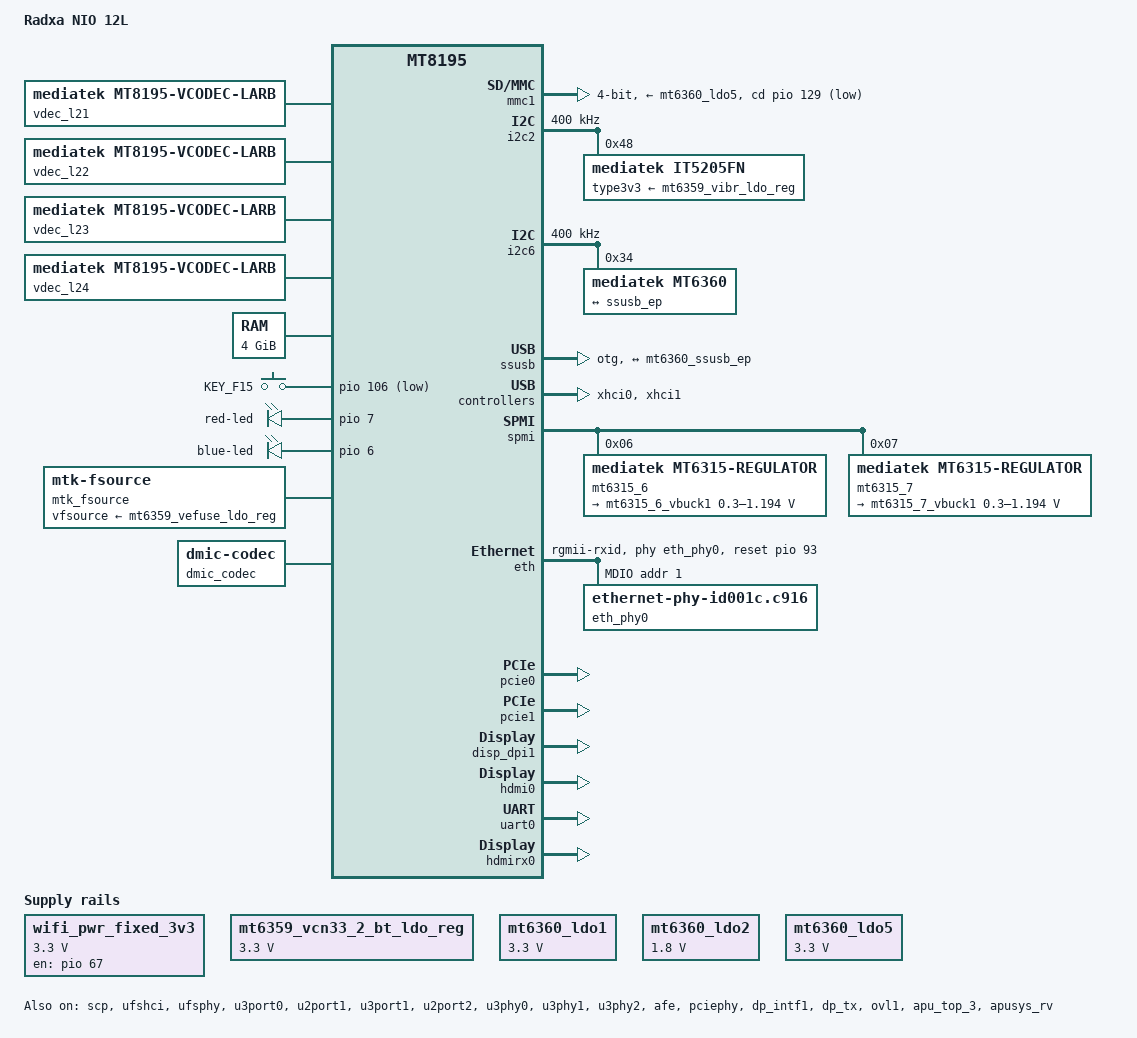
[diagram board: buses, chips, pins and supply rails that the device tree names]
// SPDX-License-Identifier: (GPL-2.0 OR MIT)
/*
 * Copyright (c) 2023 Radxa Limited.
 */
/dts-v1/;
#include "mt8195-iot-usb.dtsi"
#include "mt6359.dtsi"
#include <dt-bindings/gpio/gpio.h>
#include <dt-bindings/input/input.h>
#include <dt-bindings/interrupt-controller/irq.h>
#include <dt-bindings/pinctrl/mt8195-pinfunc.h>
#include <dt-bindings/usb/pd.h>
#include <dt-bindings/clock/mt8195-clk.h>
#include <dt-bindings/power/mt8195-power.h>
#include <dt-bindings/interrupt-controller/arm-gic.h>
#include <dt-bindings/memory/mt8195-memory-port.h>
#include <dt-bindings/gce/mt8195-gce.h>
#include <dt-bindings/thermal/thermal.h>

/ {
	model = "Radxa NIO 12L";
	compatible = "radxa,nio-12l", "mediatek,mt8195";

	aliases {
		ethernet0 = &eth;
		serial0 = &uart0;
		serial1 = &uart1;
		serial2 = &uart2;
		serial3 = &uart3;
		serial4 = &uart4;
		serial5 = &uart5;
		i2c0 = &i2c0;
		i2c1 = &i2c1;
		i2c2 = &i2c2;
		i2c3 = &i2c3;
		i2c4 = &i2c4;
		i2c5 = &i2c5;
		i2c6 = &i2c6;
		i2c7 = &i2c7;
		spi0 = &spi0;
		spi1 = &spi1;
		spi2 = &spi2;
		spi3 = &spi3;
		spi4 = &spi4;
		spi5 = &spi5;
	};

	soc {

			gpu: mali@13000000 {
				compatible = "mediatek,mt8195-mali", "arm,mali-midgard";
				reg = <0 0x13000000 0 0x4000>;
				interrupts =
					<GIC_SPI 395 IRQ_TYPE_LEVEL_HIGH 0>,
					<GIC_SPI 396 IRQ_TYPE_LEVEL_HIGH 0>,
					<GIC_SPI 397 IRQ_TYPE_LEVEL_HIGH 0>;
				interrupt-names =
					"GPU",
					"MMU",
					"JOB";

				/*
				* Note: the properties below are not part of the
				* upstream binding.
				*/
				clocks =
					<&topckgen CLK_TOP_MFG_CK_FAST_REF>,
					<&apmixedsys CLK_APMIXED_MFGPLL>,
					<&apmixedsys CLK_APMIXED_MFGPLL>,
					<&topckgen CLK_TOP_MFG_CORE_TMP>,
					<&mfgcfg CLK_MFG_BG3D>;

				clock-names =
					"clk_mux",
					"clk_pll_src",
					"clk_main_parent",
					"clk_sub_parent",
					"subsys_bg3d";

				operating-points-v2 = <&gpu_opp_table>;

				power-domains =
					<&spm MT8195_POWER_DOMAIN_MFG2>,
					<&spm MT8195_POWER_DOMAIN_MFG3>,
					<&spm MT8195_POWER_DOMAIN_MFG4>,
					<&spm MT8195_POWER_DOMAIN_MFG5>,
					<&spm MT8195_POWER_DOMAIN_MFG6>;
				power-domain-names = "core0",
					"core1",
					"core2",
					"core3",
					"core4";

				supply-names = "mali","mali_sram";
				mali-supply = <&mt6315_7_vbuck1>;
				mali_sram-supply = <&mt6359_vsram_others_ldo_reg>;

			};

			gpu_opp_table: opp_table0 {
				compatible = "operating-points-v2", "operating-points-v2-mali";
				opp-shared;

				opp-390000000 {
					opp-hz = /bits/ 64 <390000000>;
					opp-hz-real = /bits/ 64 <390000000>,
							/bits/ 64 <390000000>;
					opp-microvolt = <625000>,
							<750000>;
				};

				opp-410000000 {
					opp-hz = /bits/ 64 <410000000>;
					opp-hz-real = /bits/ 64 <410000000>,
							/bits/ 64 <410000000>;
					opp-microvolt = <631250>,
							<750000>;
				};

				opp-431000000 {
					opp-hz = /bits/ 64 <431000000>;
					opp-hz-real = /bits/ 64 <431000000>,
							/bits/ 64 <431000000>;
					opp-microvolt = <631250>,
							<750000>;
				};

				opp-473000000 {
					opp-hz = /bits/ 64 <473000000>;
					opp-hz-real = /bits/ 64 <473000000>,
							/bits/ 64 <473000000>;
					opp-microvolt = <637500>,
							<750000>;
				};

				opp-515000000 {
					opp-hz = /bits/ 64 <515000000>;
					opp-hz-real = /bits/ 64 <515000000>,
							/bits/ 64 <515000000>;
					opp-microvolt = <637500>,
							<750000>;
				};

				opp-556000000 {
					opp-hz = /bits/ 64 <556000000>;
					opp-hz-real = /bits/ 64 <556000000>,
							/bits/ 64 <556000000>;
					opp-microvolt = <643750>,
							<750000>;
				};

				opp-598000000 {
					opp-hz = /bits/ 64 <598000000>;
					opp-hz-real = /bits/ 64 <598000000>,
							/bits/ 64 <598000000>;
					opp-microvolt = <650000>,
							<750000>;
				};

				opp-640000000 {
					opp-hz = /bits/ 64 <640000000>;
					opp-hz-real = /bits/ 64 <640000000>,
							/bits/ 64 <640000000>;
					opp-microvolt = <650000>,
							<750000>;
				};

				opp-670000000 {
					opp-hz = /bits/ 64 <670000000>;
					opp-hz-real = /bits/ 64 <670000000>,
							/bits/ 64 <670000000>;
					opp-microvolt = <662500>,
							<750000>;
				};

				opp-700000000 {
					opp-hz = /bits/ 64 <700000000>;
					opp-hz-real = /bits/ 64 <700000000>,
							/bits/ 64 <700000000>;
					opp-microvolt = <675000>,
							<750000>;
				};

				opp-730000000 {
					opp-hz = /bits/ 64 <730000000>;
					opp-hz-real = /bits/ 64 <730000000>,
							/bits/ 64 <730000000>;
					opp-microvolt = <687500>,
							<750000>;
				};

				opp-760000000 {
					opp-hz = /bits/ 64 <760000000>;
					opp-hz-real = /bits/ 64 <760000000>,
							/bits/ 64 <760000000>;
					opp-microvolt = <700000>,
							<750000>;
				};

				opp-790000000 {
					opp-hz = /bits/ 64 <790000000>;
					opp-hz-real = /bits/ 64 <790000000>,
							/bits/ 64 <790000000>;
					opp-microvolt = <712500>,
							<750000>;
				};

				opp-820000000 {
					opp-hz = /bits/ 64 <820000000>;
					opp-hz-real = /bits/ 64 <820000000>,
							/bits/ 64 <820000000>;
					opp-microvolt = <725000>,
							<750000>;
				};

				opp-850000000 {
					opp-hz = /bits/ 64 <850000000>;
					opp-hz-real = /bits/ 64 <850000000>,
							/bits/ 64 <850000000>;
					opp-microvolt = <737500>,
							<750000>;
				};

				opp-880000000 {
					opp-hz = /bits/ 64 <880000000>;
					opp-hz-real = /bits/ 64 <880000000>,
							/bits/ 64 <880000000>;
					opp-microvolt = <750000>,
							<750000>;
				};
			};

						apu_conn: syscon@19020000 {
						compatible = "mediatek,mt8195-apu_conn", "syscon";
						reg = <0 0x19020000 0 0x1000>;
					};

			apusys_reviser@19021000 {
				compatible = "mediatek, rv-reviser";
				reg = <0 0x19021000 0 0x1000>,		/* apu_sctrl_reviser  */
					<0 0x1d800000 0 0x400000>,	/* VLM          */
					<0 0x1d000000 0 0x100000>,	/* TCM          */
					<0 0x19001000 0 0x1000>;		/* apusys int */
				interrupts = <GIC_SPI 439 IRQ_TYPE_LEVEL_HIGH 0>;
				default-dram = <0x1 0x01 0x88000000>;
				dma-ranges = <0x0 0x0 0x0 0x40000000 0x1 0x0>;
				boundary = <0x0>;
				iommus = <&iommu_apu0 IOMMU_PORT_APU_DATA>;
			};

			apu_conn1: syscon@19024000 {
				compatible = "mediatek,mt8195-apu_conn1", "syscon";
				reg = <0 0x19024000 0 0x1000>;
			};

			apu_vcore: syscon@19029000 {
				compatible = "mediatek,mt8195-apu_vcore", "syscon";
				reg = <0 0x19029000 0 0x1000>;
			};

			apu0: syscon@19030000 {
				compatible = "mediatek,mt8195-apu0", "syscon";
				reg = <0 0x19030000 0 0x1000>;
			};

			vpu_core0: vpu_core0@19030000 {
				compatible = "mediatek,mt8195-vpu_core0";
				reg = <0 0x19030000 0 0x1000>,
					<0 0x1d400000 0 0x40000>,
					<0 0x1d440000 0 0x30000>,
					<0 0x0d190000 0 0x4000>;
				interrupts = <GIC_SPI 452 IRQ_TYPE_LEVEL_HIGH 0>;
				id = <0>;
				reset-vector = <0x7da00000 0x00100000 0x0>;
				main-prog = <0x7db00000 0x00300000 0x100000>;
				kernel-lib = <0x7de00000 0x00500000 0xffffffff>;
				work-buf = <0x0 0x12000 0xffffffff>;
				iommus = <&iommu_apu0 IOMMU_PORT_APU_VPU>;
				dma-ranges = <0x0 0x20000000 0x0 0x40000000 0x0 0xe0000000>;
				#cooling-cells = <2>;
				memory-region = <&vpu_reserve_memory>;

				firmware-name = "mediatek/mt8395/cam_vpu1.img",
					"mediatek/mt8395/cam_vpu2.img",
					"mediatek/mt8395/cam_vpu3.img";
			};

			apu1: syscon@19031000 {
				compatible = "mediatek,mt8195-apu1", "syscon";
				reg = <0 0x19031000 0 0x1000>;
			};

			vpu_core1: vpu_core1@19031000 {
				compatible = "mediatek,mt8195-vpu_core1";
				reg = <0 0x19031000 0 0x1000>,
					<0 0x1d500000 0 0x40000>,
					<0 0x1d540000 0 0x30000>,
					<0 0x0d194000 0 0x4000>;
				interrupts = <GIC_SPI 453 IRQ_TYPE_LEVEL_HIGH 0>;
				id = <1>;
				reset-vector = <0x7e300000 0x00100000 0x400000>;
				main-prog = <0x7e400000 0x00300000 0x500000>;
				kernel-lib = <0x7e700000 0x00500000 0xffffffff>;
				work-buf = <0x0 0x12000 0xffffffff>;
				dma-ranges = <0x0 0x20000000 0x0 0x40000000 0x0 0xe0000000>;
				iommus = <&iommu_apu1 IOMMU_PORT_APU_VPU>;
				#cooling-cells = <2>;
				memory-region = <&vpu_reserve_memory>;
			};

			apu_mdla0: syscon@19034000 {
				compatible = "mediatek,mt8195-apu_mdla0", "syscon";
				reg = <0 0x19034000 0 0x1000>;
			};

			apu_mdla1: syscon@19038000 {
				compatible = "mediatek,mt8195-apu_mdla1", "syscon";
				reg = <0 0x19038000 0 0x1000>;
			};

			mtk_mdla: mtk_mdla {
				compatible = "mediatek, mdla-rv";
				core_num = <2>;
				version = <0x81950200>;
				dma-ranges = <0x0 0x0 0x0 0x40000000 0x1 0x0>;
				iommus = <&iommu_apu0 IOMMU_PORT_APU_DATA>;
				status = "okay";
			};

			apusys_mnoc@1906e000 {
				compatible = "mediatek,apusys_mnoc";
				reg = <0 0x1906e000 0 0x6000>,  /* mnoc reg  */
					<0 0x19001000 0 0x1000>,  /* apusys int */
					<0 0x19020000 0 0x1000>;  /* apu_conn_config */
				interrupts = <GIC_SPI 439 IRQ_TYPE_LEVEL_HIGH 0>;
			};

			apu_pcu: syscon@190f1000 {
				compatible = "mediatek,mt8195-apu_pcu", "syscon";
				reg = <0 0x190f1000 0 0x1000>;
			};

			apu_ao_ctrl: syscon@190f2000 {
				compatible = "mediatek,mt8195-apu_ao_ctrl", "syscon";
				reg = <0 0x190f2000 0 0x1000>;
			};

			apu_acc: syscon@190f4000 {
				compatible = "mediatek,mt8195-apu_acc", "syscon";
				reg = <0 0x190f4000 0 0x100>;
			};

			apu_top_3: apu_top_3 {
				compatible = "mt8195,apu_top_3";
				clocks = <&apusys_pll CLK_APUSYS_PLL_APUPLL>,
					<&apusys_pll CLK_APUSYS_PLL_NPUPLL>,
					<&apusys_pll CLK_APUSYS_PLL_APUPLL1>,
					<&apusys_pll CLK_APUSYS_PLL_APUPLL2>,
					<&topckgen CLK_TOP_DSP>,
					<&topckgen CLK_TOP_DSP1>,
					<&topckgen CLK_TOP_DSP2>,
					<&topckgen CLK_TOP_DSP4>,
					<&topckgen CLK_TOP_DSP5>,
					<&topckgen CLK_TOP_DSP7>,
					<&topckgen CLK_TOP_MAINPLL_D4_D2>,
					<&topckgen CLK_TOP_UNIVPLL_D4_D2>,
					<&topckgen CLK_TOP_UNIVPLL_D6_D2>,
					<&infracfg_ao CLK_INFRA_AO_DEBUGSYS>;
				clock-names = "clk_apupll_apupll",
						"clk_apupll_npupll",
						"clk_apupll_apupll1",
						"clk_apupll_apupll2",
						"clk_top_dsp_sel",
						"clk_top_dsp1_sel",
						"clk_top_dsp2_sel",
						"clk_top_dsp4_sel",
						"clk_top_dsp5_sel",
						"clk_top_ipu_if_sel",
						"clk_top_mainpll_d4_d2",
						"clk_top_univpll_d4_d2",
						"clk_top_univpll_d6_d2",
						"clk_infra_ao_debugsys";
				reg = <0 0x10006000 0 0x1000>,		// sys_spm
					<0 0x19020000 0 0x1000>,		// apu_conn
					<0 0x19024000 0 0x1000>,		// apu_conn1
					<0 0x19029000 0 0x1000>,		// apu_vcore
					<0 0x19000000 0 0x1000>,		// apu_md32_mbox
					<0 0x190f0000 0 0x1000>,		// apu_rpc
					<0 0x190f1000 0 0x1000>,		// apu_pcu
					<0 0x190f2000 0 0x1000>,		// apu_ao_ctl
					<0 0x190f3000 0 0x1000>,		// apu_pll
					<0 0x190f4000 0 0x1000>,		// apu_acc
					<0 0x19030000 0 0x1000>,		// apu_vpu0
					<0 0x19031000 0 0x1000>,		// apu_vpu1
					<0 0x19034000 0 0x1000>,		// apu_mdla0
					<0 0x19038000 0 0x1000>;		// apu_mdla1
				reg-names =
					"sys_spm",
					"apu_conn",
					"apu_conn1",
					"apu_vcore",
					"apu_md32_mbox",
					"apu_rpc",
					"apu_pcu",
					"apu_ao_ctl",
					"apu_pll",
					"apu_acc",
					"apu_vpu0",
					"apu_vpu1",
					"apu_mdla0",
					"apu_mdla1";
				consumer = <&iommu_apu0>, <&iommu_apu1>;

				vapu-supply = <&mt6359_vproc1_buck_reg>;
				vmdla-supply = <&mt6359_vproc2_buck_reg>;
				vsram-supply = <&mt6359_vsram_md_ldo_reg>;

				operating-points-v2 = <&opp_table_apu_conn>,
							<&opp_table_apu_rv>,
							<&opp_table_vpu>,
							<&opp_table_dla>;

				status = "okay";
			};

			mdla_devfreq: mdla_devfreq {
				compatible = "mediatek,mt8195-mdla-devfreq";
				#cooling-cells = <2>;
				dynamic-power-coefficient = <1667>;
				power_table = <581>,
						<448>,
						<320>,
						<208>,
						<127>,
						<96>;
				status = "okay";
			};

			vpu_devfreq: vpu_devfreq {
				compatible = "mediatek,mt8195-vpu-devfreq";
				#cooling-cells = <2>;
				dynamic-power-coefficient = <1667>;
				power_table = <493>,
						<402>,
						<295>,
						<200>,
						<119>,
						<87>;
				status = "okay";
			};

			apusys_sw_logger: apusys_sw_logger {
				compatible = "mediatek,apusys_sw_logger";

				reg = <0 0x19000000 0 0x1000>;
				reg-names = "apu_mbox";

				dma-ranges = <0x0 0x0 0x0 0x40000000 0x1 0x0>;
				iommus = <&iommu_apu1 IOMMU_PORT_APU_DATA>;
			};

			apusys_rv: apusys_rv@19001000 {
				compatible = "mediatek,mt8195-apusys_rv";
				memory-region = <&apu_reserve_memory>;
				reg = <0 0x19000000 0 0x1000>,
					<0 0x19001000 0 0x1000>,
					<0 0x19002000 0 0x10>,
					<0 0x19021000 0 0x1000>,
					<0 0x190f2000 0 0x1000>,
					<0 0x1df00000 0 0x20000>,
					<0 0x0d19c000 0 0x10000>;

				reg-names = "apu_mbox",
						"md32_sysctrl",
						"apu_wdt",
						"apu_sctrl_reviser",
						"apu_ao_ctl",
						"md32_tcm",
						"md32_debug_apb";

				mediatek,apusys_power = <&apu_top_3>;
				firmware-name = "mediatek/mt8395/apusys.sig.img";

				apu_iommu0 = <&iommu_apu0>;
				apu_iommu1 = <&iommu_apu1>;

				dma-ranges = <0x0 0x0 0x0 0x40000000 0x1 0x0>;
				iommus = <&iommu_apu0 IOMMU_PORT_APU_DATA>;

				interrupts = <GIC_SPI 425 IRQ_TYPE_LEVEL_HIGH 0>,
						<GIC_SPI 436 IRQ_TYPE_LEVEL_HIGH 0>;

				interrupt-names = "apu_wdt",
						"mbox0_irq";

				up_code_buf_sz = <0x100000>;
				up_coredump_buf_sz = <0x180000>;
				regdump_buf_sz = <0x10000>;
				mdla_coredump_buf_sz = <0x0>;
				mvpu_coredump_buf_sz = <0x0>;
				mvpu_sec_coredump_buf_sz = <0x0>;

				status = "okay";

				apu_ctrl {
					compatible = "mediatek,apu-ctrl-rpmsg";
					mtk,rpmsg-name = "apu-ctrl-rpmsg";
				};

				apu_top_rpmsg {
					compatible = "mediatek,aputop-rpmsg";
					mtk,rpmsg-name = "apu_top_3_rpmsg";
				};

				apu_mdw {
					compatible = "mediatek,apu-mdw-rpmsg";
					mtk,rpmsg-name = "apu-mdw-rpmsg";
				};

				apu_reviser {
					compatible = "mediatek,apu-reviser-rpmsg";
					mtk,rpmsg-name = "apu-reviser-rpmsg";
				};

				apu_edma {
					compatible = "mediatek,apu-edma-rpmsg";
					mtk,rpmsg-name = "apu-edma-rpmsg";
				};

				apu_mnoc {
					compatible = "mediatek,apu-mnoc-rpmsg";
					mtk,rpmsg-name = "apu-mnoc-rpmsg";
				};

				mdla_tx_rpmsg {
					compatible = "mediatek,mdla-tx-rpmsg";
					mtk,rpmsg-name = "mdla-tx-rpmsg";
				};

				mdla_rx_rpmsg {
					compatible = "mediatek,mdla-rx-rpmsg";
					mtk,rpmsg-name = "mdla-rx-rpmsg";
				};
			};

			mtk_apu_mem_code: mtk_apu_mem_code {
				compatible = "mediatek, apu_mem_code";
				type = <1>;
				mask = /bits/ 64 <0x00000003ffffffff>;
				dma-ranges = <0x0 0x0 0x0 0x40000000 0x1 0x0>;
				iommus = <&iommu_apu0 IOMMU_PORT_APU_DATA>;
			};

			mtk_apu_mem_data: mtk_apu_mem_data {
				compatible = "mediatek, apu_mem_data";
				type = <2>;
				mask = /bits/ 64 <0x00000003ffffffff>;
				dma-ranges = <0x0 0x8000000 0x0 0x40000000 0x0 0x8000000>;
				iommus = <&iommu_apu0 IOMMU_PORT_APU_VLM>;
			};

			iommu_apu0: iommu@19010000 {
				compatible = "mediatek,mt8195-iommu-apu";
				reg = <0 0x19010000 0 0x5000>;
				interrupts = <GIC_SPI 426 IRQ_TYPE_LEVEL_HIGH 0>,
						<GIC_SPI 427 IRQ_TYPE_LEVEL_HIGH 0>,
						<GIC_SPI 428 IRQ_TYPE_LEVEL_HIGH 0>,
						<GIC_SPI 429 IRQ_TYPE_LEVEL_HIGH 0>,
						<GIC_SPI 430 IRQ_TYPE_LEVEL_HIGH 0>;
				#iommu-cells = <1>;
				mediatek,apu_power = <&apusys_rv>;
			};

			iommu_apu1: iommu@19015000 {
				compatible = "mediatek,mt8195-iommu-apu";
				reg = <0 0x19015000 0 0x5000>;
				interrupts = <GIC_SPI 431 IRQ_TYPE_LEVEL_HIGH 0>,
						<GIC_SPI 432 IRQ_TYPE_LEVEL_HIGH 0>,
						<GIC_SPI 433 IRQ_TYPE_LEVEL_HIGH 0>,
						<GIC_SPI 434 IRQ_TYPE_LEVEL_HIGH 0>,
						<GIC_SPI 435 IRQ_TYPE_LEVEL_HIGH 0>;
				#iommu-cells = <1>;
				mediatek,apu_power = <&apusys_rv>;
			};

			apusys_pll: syscon@190f3000 {
				compatible = "mediatek,mt8195-apusys_pll", "syscon";
				reg = <0 0x190f3000 0 0x1000>;
				#clock-cells = <1>;
			};

			opp_table_apu_conn: opp-table-apu-conn {
				compatible = "operating-points-v2";

				opp-0 {
					opp-hz = /bits/ 64 <728000000>;
					opp-microvolt = <775000>;
				};
				opp-1 {
					opp-hz = /bits/ 64 <624000000>;
					opp-microvolt = <750000>;
				};
				opp-2 {
					opp-hz = /bits/ 64 <500000000>;
					opp-microvolt = <700000>;
				};
				opp-3 {
					opp-hz = /bits/ 64 <312000000>;
					opp-microvolt = <650000>;
				};
				opp-4 {
					opp-hz = /bits/ 64 <238000000>;
					opp-microvolt = <600000>;
				};
				opp-5 {
					opp-hz = /bits/ 64 <208000000>;
					opp-microvolt = <575000>;
				};
			};

			opp_table_apu_rv: opp-table-apu-rv {
				compatible = "operating-points-v2";

				opp-0 {
					opp-hz = /bits/ 64 <728000000>;
					opp-microvolt = <775000>;
				};
				opp-1 {
					opp-hz = /bits/ 64 <624000000>;
					opp-microvolt = <750000>;
				};
				opp-2 {
					opp-hz = /bits/ 64 <500000000>;
					opp-microvolt = <700000>;
				};
				opp-3 {
					opp-hz = /bits/ 64 <312000000>;
					opp-microvolt = <650000>;
				};
				opp-4 {
					opp-hz = /bits/ 64 <238000000>;
					opp-microvolt = <600000>;
				};
				opp-5 {
					opp-hz = /bits/ 64 <208000000>;
					opp-microvolt = <575000>;
				};
			};

			opp_table_vpu: opp-table-vpu {
				compatible = "operating-points-v2";

				opp-0 {
					opp-hz = /bits/ 64 <832000000>;
					opp-microvolt = <775000>;
				};
				opp-1 {
					opp-hz = /bits/ 64 <728000000>;
					opp-microvolt = <750000>;
				};
				opp-2 {
					opp-hz = /bits/ 64 <624000000>;
					opp-microvolt = <700000>;
				};
				opp-3 {
					opp-hz = /bits/ 64 <525000000>;
					opp-microvolt = <650000>;
				};
				opp-4 {
					opp-hz = /bits/ 64 <358000000>;
					opp-microvolt = <600000>;
				};
				opp-5 {
					opp-hz = /bits/ 64 <275000000>;
					opp-microvolt = <575000>;
				};
			};

			opp_table_dla: opp-table-dla {
				compatible = "operating-points-v2";

				opp-0 {
					opp-hz = /bits/ 64 <960000000>;
					opp-microvolt = <800000>;
				};
				opp-1 {
					opp-hz = /bits/ 64 <832000000>;
					opp-microvolt = <750000>;
				};
				opp-2 {
					opp-hz = /bits/ 64 <688000000>;
					opp-microvolt = <700000>;
				};
				opp-3 {
					opp-hz = /bits/ 64 <546000000>;
					opp-microvolt = <650000>;
				};
				opp-4 {
					opp-hz = /bits/ 64 <385000000>;
					opp-microvolt = <600000>;
				};
				opp-5 {
					opp-hz = /bits/ 64 <312000000>;
					opp-microvolt = <575000>;
				};
			};

			vcu: vcu@18000000 {
				compatible = "mediatek-vcu";
				mediatek,vcuid = <0>;
				mediatek,vcuname = "vcu";
				mediatek,vcu-off  = <0>;
				reg = <0 0x18000000 0 0x40000>,/* VDEC_BASE */
					<0 0x1a020000 0 0x10000>,/* VENC_BASE */
					<0 0x1b020000 0 0x10000>;/* VENC_C1_BASE */
				iommus = <&iommu_vpp M4U_PORT_L23_VDEC_UFO_ENC_EXT>;
				dma-ranges = <0x1 0x0 0x0 0x40000000 0x1 0x0>;
				mediatek,mailbox-gce = <&gce1>;
				mediatek,dec_gce_th_num = <1>;
				mediatek,enc_gce_th_num = <2>;
				mboxes = <&gce1 16 CMDQ_THR_PRIO_1>,
					<&gce1 17 CMDQ_THR_PRIO_1>,
					<&gce1 18 CMDQ_THR_PRIO_1>;
				gce-event-names = "venc_eof",
						"venc_eof_c1",
						"venc_wp_2nd_done",
						"venc_wp_3nd_done";

				gce-events = <CMDQ_EVENT_VENC_TOP_FRAME_DONE>,
						<CMDQ_EVENT_VENC_CORE1_TOP_FRAME_DONE>,
						<CMDQ_EVENT_VENC_TOP_WP_2ND_STAGE_DONE>,
						<CMDQ_EVENT_VENC_TOP_WP_3RD_STAGE_DONE>;

				gce-gpr = <GCE_GPR_R10>, <GCE_GPR_R11>;
			};

			vdec: vdec@18000000 {
				compatible = "mediatek,mt8195-vcodec-dec";
				mediatek,platform = "platform:mt8195";
				mediatek,ipm = <2>;
				reg =   <0 0x18000000 0 0x800>,/* VDEC_BASE */
					<0 0x18020000 0 0x1000>,/* VDEC_VLD */
					<0 0x18025000 0 0x1000>,/* VDEC_MISC */
					<0 0x18010000 0 0x800>,/* VDEC_LAT_MISC */
					<0 0x18004000 0 0x1000>,/* VDEC_RACING_CTRL */
					<0 0x18035000 0 0x1000>,/* VDEC_CORE1_MISC */
					<0 0x18018000 0 0x800>,/* VDEC_LAT1_MISC */
					<0 0x1800f000 0 0x800>,/* VDEC_SOC_GCON */
					<0 0x18010800 0 0x800>,/* VDEC_LAT_WDMA */
					<0 0x18018800 0 0x800>,/* VDEC_LAT1_WDMA */
					<0 0x18001000 0 0x1000>,/* VDEC_LAT_TOP */
					<0 0x18000800 0 0x800>;/* VDEC_UFO_ENC */
				reg-names = "VDEC_BASE",
					"VDEC_VLD",
					"VDEC_MISC",
					"VDEC_LAT_MISC",
					"VDEC_RACING_CTRL",
					"VDEC_CORE1_MISC",
					"VDEC_LAT1_MISC",
					"VDEC_SOC_GCON",
					"VDEC_LAT_WDMA",
					"VDEC_LAT1_WDMA",
					"VDEC_LAT_TOP",
					"VDEC_UFO_ENC";
				iommus = <&iommu_vpp M4U_PORT_L23_VDEC_UFO_ENC_EXT>;
				dma-ranges = <0x1 0x0 0x0 0x40000000 0x1 0x0>;
				power-domains = <&spm MT8195_POWER_DOMAIN_VDEC0>;/* SOC */
				interrupts = <GIC_SPI 707 IRQ_TYPE_LEVEL_HIGH 0>,
						<GIC_SPI 708 IRQ_TYPE_LEVEL_HIGH 0>,
						<GIC_SPI 709 IRQ_TYPE_LEVEL_HIGH 0>,
						<GIC_SPI 710 IRQ_TYPE_LEVEL_HIGH 0>,
						<GIC_SPI 711 IRQ_TYPE_LEVEL_HIGH 0>;
				clocks = <&vdecsys_soc CLK_VDEC_SOC_LARB1>,
					<&vdecsys_soc CLK_VDEC_SOC_LAT>,
					<&vdecsys_soc CLK_VDEC_SOC_VDEC>,
					<&vdecsys CLK_VDEC_LARB1>,
					<&vdecsys CLK_VDEC_VDEC>,
					<&vdecsys_core1 CLK_VDEC_CORE1_LARB1>,
					<&vdecsys_core1 CLK_VDEC_CORE1_VDEC>;
				clock-names = "SOC_MT_CG_LARB1",
					"LAT_MT_CG_VDEC",
					"SOC_MT_CG_VDEC",
					"CORE_MT_CG_LARB1",
					"CORE_MT_CG_VDEC",
					"CORE_MT_CG_CORE1_LARB1",
					"CORE_MT_CG_CORE1_VDEC";
				assigned-clocks = <&topckgen CLK_TOP_VDEC>;
				assigned-clock-parents = <&apmixedsys CLK_APMIXED_VDECPLL>;
				assigned-clock-rates = <680000000>;
				mediatek,vcu = <&vcu>;
			};

			venc@1a020000 {
				compatible = "mediatek,mt8195-vcodec-enc";
				mediatek,platform = "platform:mt8195";
				mediatek,ipm = <2>;
				reg = <0 0x1a020000 0 0x10000>,/* VENC_C0 */
					<0 0x1b020000 0 0x10000>;/* VENC_C1 */
				reg-names = "VENC_SYS",
					"VENC_C1_SYS";
				iommus = <&iommu_vdo M4U_PORT_L19_VENC_RD_COMV>;
				dma-ranges = <0x1 0x0 0x0 0x40000000 0x1 0x0>;
				interrupts = <GIC_SPI 341 IRQ_TYPE_LEVEL_HIGH 0>,
						<GIC_SPI 346 IRQ_TYPE_LEVEL_HIGH 0>;
				clocks = <&vencsys CLK_VENC_VENC>,
					<&vencsys_core1 CLK_VENC_CORE1_VENC>;
				clock-names = "MT_CG_VENC0",
						"MT_CG_VENC1";
				assigned-clocks = <&topckgen CLK_TOP_VENC>;
				assigned-clock-parents = <&topckgen CLK_TOP_UNIVPLL_D4>;
				mediatek,vcu = <&vcu>;

				port-arg-num = <3>;
				port-def = <0 M4U_PORT_L19_VENC_RCPU 0>,
					<0 M4U_PORT_L19_VENC_REC 0>,
					<0 M4U_PORT_L19_VENC_BSDMA 0>,
					<0 M4U_PORT_L19_VENC_SV_COMV 0>,
					<0 M4U_PORT_L19_VENC_RD_COMV 0>,
					<0 M4U_PORT_L19_VENC_NBM_RDMA 1>,
					<0 M4U_PORT_L19_VENC_NBM_RDMA_LITE 1>,
					<0 M4U_PORT_L19_VENC_SUB_W_LUMA 0>,
					<0 M4U_PORT_L19_VENC_FCS_NBM_RDMA 1>,
					<0 M4U_PORT_L19_VENC_NBM_WDMA 1>,
					<0 M4U_PORT_L19_VENC_NBM_WDMA_LITE 1>,
					<0 M4U_PORT_L19_VENC_FCS_NBM_WDMA 1>,
					<0 M4U_PORT_L19_VENC_CUR_LUMA 0>,
					<0 M4U_PORT_L19_VENC_CUR_CHROMA 0>,
					<0 M4U_PORT_L19_VENC_REF_LUMA 0>,
					<0 M4U_PORT_L19_VENC_REF_CHROMA 0>,
					<0 M4U_PORT_L19_VENC_SUB_R_CHROMA 0>,
					<1 M4U_PORT_L20_VENC_RCPU 0>,
					<1 M4U_PORT_L20_VENC_REC 0>,
					<1 M4U_PORT_L20_VENC_BSDMA 0>,
					<1 M4U_PORT_L20_VENC_SV_COMV 0>,
					<1 M4U_PORT_L20_VENC_RD_COMV 0>,
					<1 M4U_PORT_L20_VENC_NBM_RDMA 1>,
					<1 M4U_PORT_L20_VENC_NBM_RDMA_LITE 1>,
					<1 M4U_PORT_L20_VENC_SUB_W_LUMA 0>,
					<1 M4U_PORT_L20_VENC_FCS_NBM_RDMA 1>,
					<1 M4U_PORT_L20_VENC_NBM_WDMA 1>,
					<1 M4U_PORT_L20_VENC_NBM_WDMA_LITE 1>,
					<1 M4U_PORT_L20_VENC_FCS_NBM_WDMA 1>,
					<1 M4U_PORT_L20_VENC_CUR_LUMA 0>,
					<1 M4U_PORT_L20_VENC_CUR_CHROMA 0>,
					<1 M4U_PORT_L20_VENC_REF_LUMA 0>,
					<1 M4U_PORT_L20_VENC_REF_CHROMA 0>,
					<1 M4U_PORT_L20_VENC_SUB_R_CHROMA 0>;
			};

			venc_l19 {
				compatible = "mediatek,mt8195-venc-larb";
				mediatek,larb-id = <19>;
				mediatek,hw-id = <0>;
				power-domains = <&spm MT8195_POWER_DOMAIN_VENC>;
				iommus = <&iommu_vdo M4U_PORT_L19_VENC_RCPU>,
					<&iommu_vdo M4U_PORT_L19_VENC_REC>,
					<&iommu_vdo M4U_PORT_L19_VENC_BSDMA>,
					<&iommu_vdo M4U_PORT_L19_VENC_SV_COMV>,
					<&iommu_vdo M4U_PORT_L19_VENC_RD_COMV>,
					<&iommu_vdo M4U_PORT_L19_VENC_NBM_RDMA>,
					<&iommu_vdo M4U_PORT_L19_VENC_NBM_RDMA_LITE>,
					<&iommu_vdo M4U_PORT_L19_VENC_SUB_W_LUMA>,
					<&iommu_vdo M4U_PORT_L19_VENC_FCS_NBM_RDMA>,
					<&iommu_vdo M4U_PORT_L19_VENC_NBM_WDMA>,
					<&iommu_vdo M4U_PORT_L19_VENC_NBM_WDMA_LITE>,
					<&iommu_vdo M4U_PORT_L19_VENC_FCS_NBM_WDMA>,
					<&iommu_vdo M4U_PORT_L19_VENC_CUR_LUMA>,
					<&iommu_vdo M4U_PORT_L19_VENC_CUR_CHROMA>,
					<&iommu_vdo M4U_PORT_L19_VENC_REF_LUMA>,
					<&iommu_vdo M4U_PORT_L19_VENC_REF_CHROMA>,
					<&iommu_vdo M4U_PORT_L19_VENC_SUB_R_CHROMA>;
				dma-ranges = <0x1 0x0 0x0 0x40000000 0x1 0x0>;
			};

			venc_l20 {
				compatible = "mediatek,mt8195-venc-larb";
				mediatek,larb-id = <20>;
				mediatek,hw-id = <1>;
				power-domains = <&spm MT8195_POWER_DOMAIN_VENC_CORE1>;
				iommus = <&iommu_vpp M4U_PORT_L20_VENC_RCPU>,
					<&iommu_vpp M4U_PORT_L20_VENC_REC>,
					<&iommu_vpp M4U_PORT_L20_VENC_BSDMA>,
					<&iommu_vpp M4U_PORT_L20_VENC_SV_COMV>,
					<&iommu_vpp M4U_PORT_L20_VENC_RD_COMV>,
					<&iommu_vpp M4U_PORT_L20_VENC_NBM_RDMA>,
					<&iommu_vpp M4U_PORT_L20_VENC_NBM_RDMA_LITE>,
					<&iommu_vpp M4U_PORT_L20_VENC_SUB_W_LUMA>,
					<&iommu_vpp M4U_PORT_L20_VENC_FCS_NBM_RDMA>,
					<&iommu_vpp M4U_PORT_L20_VENC_NBM_WDMA>,
					<&iommu_vpp M4U_PORT_L20_VENC_NBM_WDMA_LITE>,
					<&iommu_vpp M4U_PORT_L20_VENC_FCS_NBM_WDMA>,
					<&iommu_vpp M4U_PORT_L20_VENC_CUR_LUMA>,
					<&iommu_vpp M4U_PORT_L20_VENC_CUR_CHROMA>,
					<&iommu_vpp M4U_PORT_L20_VENC_REF_LUMA>,
					<&iommu_vpp M4U_PORT_L20_VENC_REF_CHROMA>,
					<&iommu_vpp M4U_PORT_L20_VENC_SUB_R_CHROMA>;
				dma-ranges = <0x1 0x0 0x0 0x40000000 0x1 0x0>;
			};

			vdec_l21 {
				compatible = "mediatek,mt8195-vcodec-larb";
				mediatek,larb-id = <21>;
				mediatek,hw-id = <0>;
				power-domains = <&spm MT8195_POWER_DOMAIN_VDEC1>;/* core0 */
				iommus = <&iommu_vdo M4U_PORT_L21_VDEC_MC_EXT>,
					<&iommu_vdo M4U_PORT_L21_VDEC_UFO_EXT>,
					<&iommu_vdo M4U_PORT_L21_VDEC_PP_EXT>,
					<&iommu_vdo M4U_PORT_L21_VDEC_PRED_RD_EXT>,
					<&iommu_vdo M4U_PORT_L21_VDEC_PRED_WR_EXT>,
					<&iommu_vdo M4U_PORT_L21_VDEC_PPWRAP_EXT>,
					<&iommu_vdo M4U_PORT_L21_VDEC_TILE_EXT>,
					<&iommu_vdo M4U_PORT_L21_VDEC_VLD_EXT>,
					<&iommu_vdo M4U_PORT_L21_VDEC_VLD2_EXT>,
					<&iommu_vdo M4U_PORT_L21_VDEC_AVC_MV_EXT>;
				dma-ranges = <0x1 0x0 0x0 0x40000000 0x1 0x0>;
			};

			vdec_l22 {
				compatible = "mediatek,mt8195-vcodec-larb";
				mediatek,larb-id = <22>;
				mediatek,hw-id = <2>;
				power-domains = <&spm MT8195_POWER_DOMAIN_VDEC2>;/* core1 */
				iommus = <&iommu_vpp M4U_PORT_L22_VDEC_MC_EXT>,
					<&iommu_vpp M4U_PORT_L22_VDEC_UFO_EXT>,
					<&iommu_vpp M4U_PORT_L22_VDEC_PP_EXT>,
					<&iommu_vpp M4U_PORT_L22_VDEC_PRED_RD_EXT>,
					<&iommu_vpp M4U_PORT_L22_VDEC_PRED_WR_EXT>,
					<&iommu_vpp M4U_PORT_L22_VDEC_PPWRAP_EXT>,
					<&iommu_vpp M4U_PORT_L22_VDEC_TILE_EXT>,
					<&iommu_vpp M4U_PORT_L22_VDEC_VLD_EXT>,
					<&iommu_vpp M4U_PORT_L22_VDEC_VLD2_EXT>,
					<&iommu_vpp M4U_PORT_L22_VDEC_AVC_MV_EXT>;
				dma-ranges = <0x1 0x0 0x0 0x40000000 0x1 0x0>;
			};

			vdec_l23 {
				compatible = "mediatek,mt8195-vcodec-larb";
				mediatek,larb-id = <23>;
				mediatek,hw-id = <1>;
				power-domains = <&spm MT8195_POWER_DOMAIN_VDEC0>;/* soc */
				iommus = <&iommu_vpp M4U_PORT_L23_VDEC_UFO_ENC_EXT>,
					<&iommu_vpp M4U_PORT_L23_VDEC_RDMA_EXT>;
				dma-ranges = <0x1 0x0 0x0 0x40000000 0x1 0x0>;
			};

			vdec_l24 {
				compatible = "mediatek,mt8195-vcodec-larb";
				mediatek,larb-id = <24>;
				mediatek,hw-id = <3>;
				power-domains = <&spm MT8195_POWER_DOMAIN_VDEC0>;/* soc */
				iommus = <&iommu_vdo M4U_PORT_L24_VDEC_LAT0_VLD_EXT>,
					<&iommu_vdo M4U_PORT_L24_VDEC_LAT0_VLD2_EXT>,
					<&iommu_vdo M4U_PORT_L24_VDEC_LAT0_AVC_MC_EXT>,
					<&iommu_vdo M4U_PORT_L24_VDEC_LAT0_PRED_RD_EXT>,
					<&iommu_vdo M4U_PORT_L24_VDEC_LAT0_TILE_EXT>,
					<&iommu_vdo M4U_PORT_L24_VDEC_LAT0_WDMA_EXT>,
					<&iommu_vdo M4U_PORT_L24_VDEC_LAT1_VLD_EXT>,/*LAT1*/
					<&iommu_vdo M4U_PORT_L24_VDEC_LAT1_VLD2_EXT>,
					<&iommu_vdo M4U_PORT_L24_VDEC_LAT1_AVC_MC_EXT>,
					<&iommu_vdo M4U_PORT_L24_VDEC_LAT1_PRED_RD_EXT>,
					<&iommu_vdo M4U_PORT_L24_VDEC_LAT1_TILE_EXT>,
					<&iommu_vdo M4U_PORT_L24_VDEC_LAT1_WDMA_EXT>;
				dma-ranges = <0x1 0x0 0x0 0x40000000 0x1 0x0>;
			};

	};

	thermal-zones {
		soc_max {
			cooling-maps {
				map2 {
					trip = <&target>;
					cooling-device = <&mdla_devfreq
						THERMAL_NO_LIMIT
						THERMAL_NO_LIMIT>,
						<&vpu_devfreq
						THERMAL_NO_LIMIT
						THERMAL_NO_LIMIT>;
					contribution = <1024>;
				};
			};
		};
	};

	chosen {
		stdout-path = "serial0:921600n8";
	};

	memory@40000000 {
		device_type = "memory";
		reg = <0 0x40000000 0x1 0x00000000>;
	};

	reserved-memory {
		#address-cells = <2>;
		#size-cells = <2>;
		ranges;

		/* 12 MiB reserved for OP-TEE (BL32)
		 * +-----------------------+ 0x43e0_0000
		 * |      SHMEM 2MiB       |
		 * +-----------------------+ 0x43c0_0000
		 * |        | TA_RAM  8MiB |
		 * + TZDRAM +--------------+ 0x4340_0000
		 * |        | TEE_RAM 2MiB |
		 * +-----------------------+ 0x4320_0000
		 */
		optee_reserved: optee@43200000 {
			no-map;
			reg = <0 0x43200000 0 0x00c00000>;
		};

		scp_mem_reserved: scp_mem_region {
			compatible = "shared-dma-pool";
			reg = <0 0x50000000 0 0x2900000>;
			no-map;
		};

		/* 2 MiB reserved for ARM Trusted Firmware (BL31) */
		bl31_secmon_reserved: secmon@54600000 {
			no-map;
			reg = <0 0x54600000 0x0 0x200000>;
		};

		snd_dma_mem_reserved: snd_dma_mem_region {
			compatible = "shared-dma-pool";
			reg = <0 0x60000000 0 0x1100000>;
			no-map;
		};

		apu_reserve_memory: apu-reserve-memory{
			compatible = "shared-dma-pool";
			size = <0 0x1400000>; //20 MB
			alignment = <0 0x10000>;
			reg = <0 0x62000000 0 0x1400000>;

		};

		vpu_reserve_memory: vpu-reserve-memory {
			compatible = "shared-dma-pool";
			size = <0 0x1400000>; //20 MB
			alignment = <0 0x10000>;
			reg = <0 0x53000000 0 0x1400000>;
		};
	};

	firmware {
		optee {
			compatible = "linaro,optee-tz";
			method = "smc";
		};
	};

	gpio-keys {
		compatible = "gpio-keys";
		input-name = "gpio-keys";

		key-f15 {
			wakeup-source;
			debounce-interval = <100>;
			gpios = <&pio 106 GPIO_ACTIVE_LOW>;
			label = "KEY_F15";
			linux,code = <KEY_F15>;
		};
	};

	gpio-leds {
		compatible = "gpio-leds";
		pinctrl-names = "default";

		red-led {
			label = "red-led";
			gpios = <&pio 7 GPIO_ACTIVE_HIGH>;
			linux,default-trigger = "none";
			default-state = "off";
		};

		blue-led {
			label = "blue-led";
			gpios = <&pio 6 GPIO_ACTIVE_HIGH>;
			linux,default-trigger = "heartbeat";
			default-state = "on";
		};
	};

	mtk_fsource: fsource {
		compatible = "mtk-fsource";
		vfsource-supply = <&mt6359_vefuse_ldo_reg>;
	};

	wifi_pwr_fixed_3v3: wifi-pwr-fixed-3v3 {
		compatible = "regulator-fixed";
		regulator-name = "wifi_pwr_fixed_3v3";
		regulator-min-microvolt = <3300000>;
		regulator-max-microvolt = <3300000>;
		gpio = <&pio 67 GPIO_ACTIVE_HIGH>;
		enable-active-high;
		regulator-always-on;
	};

	dmic_codec: dmic-codec {
		#sound-dai-cells = <0>;
		compatible = "dmic-codec";
		num-channels = <2>;
		wakeup-delay-ms = <200>;
	};

};

&scp {
	memory-region = <&scp_mem_reserved>;
	status = "okay";
};

&mmc0 {
	status = "disabled";
	pinctrl-names = "default", "state_uhs";
	pinctrl-0 = <&mmc0_pins_default>;
	pinctrl-1 = <&mmc0_pins_uhs>;
	bus-width = <8>;
	max-frequency = <200000000>;
	cap-mmc-highspeed;
	mmc-hs200-1_8v;
	mmc-hs400-1_8v;
	cap-mmc-hw-reset;
	no-sdio;
	no-sd;
	hs400-ds-delay = <0x14c11>;
	vmmc-supply = <&mt6359_vemc_1_ldo_reg>;
	vqmmc-supply = <&mt6359_vufs_ldo_reg>;
	non-removable;
};

&ufshci {
	status = "okay";
	vcc-supply = <&mt6359_vemc_1_ldo_reg>;
	vccq2-supply = <&mt6359_vufs_ldo_reg>;
};

&ufsphy {
	status = "okay";
};

&mmc1 {
	pinctrl-names = "default", "state_uhs";
	pinctrl-0 = <&mmc1_pins_default>;
	pinctrl-1 = <&mmc1_pins_uhs>;
	cd-gpios = <&pio 129 GPIO_ACTIVE_LOW>;
	bus-width = <4>;
	max-frequency = <208000000>;
	cap-sd-highspeed;
	sd-uhs-sdr50;
	sd-uhs-sdr104;
	no-mmc;
	no-sdio;
	vmmc-supply = <&mt6360_ldo5>;
	vqmmc-supply = <&mt6360_ldo3>;
	status = "okay";
};

&pmic {
	interrupt-parent = <&pio>;
	interrupts = <222 IRQ_TYPE_LEVEL_HIGH>;
};

&i2c2 {
	clock-frequency = <400000>;
	pinctrl-0 = <&i2c2_pins>;
	pinctrl-names = "default";
	status = "okay";

	it5205fn: it5205fn@48 {
		compatible = "mediatek,it5205fn";
		reg = <0x48>;
		type3v3-supply = <&mt6359_vibr_ldo_reg>;
		svid = /bits/ 16 <0xff01>;
		status = "okay";
	};
};

&i2c6 {
	clock-frequency = <400000>;
	pinctrl-0 = <&i2c6_pins>;
	pinctrl-names = "default";
	#address-cells = <1>;
	#size-cells = <0>;
	status = "okay";

	mt6360: mt6360@34 {
		compatible = "mediatek,mt6360";
		reg = <0x34>;
		pinctrl-0 = <&mt6360_pins>;
		pinctrl-names = "default";
		interrupts = <101 IRQ_TYPE_EDGE_FALLING>;

		tcpc {
			compatible = "mediatek,mt6360-tcpc";
			interrupts-extended = <&pio 100 IRQ_TYPE_LEVEL_LOW>;
			interrupt-names = "PD_IRQB";
			tcpc-vbus-supply = <&otg_vbus_regulator>;

			connector {
				compatible = "usb-c-connector";
				label = "USB-C";
				data-role = "dual";
				power-role = "dual";
				try-power-role = "sink";
				source-pdos = <PDO_FIXED(5000, 1000, PDO_FIXED_DUAL_ROLE | PDO_FIXED_DATA_SWAP)>;
				sink-pdos = <PDO_FIXED(5000, 3000, PDO_FIXED_DUAL_ROLE | PDO_FIXED_DATA_SWAP)>;
				op-sink-microwatt = <10000000>;
				orientation-switch = <&it5205fn>;
				mode-switch = <&it5205fn>;
				displayport = <&dp_intf1>;

				altmodes {
					dp {
						svid = <0xff01>;
						vdo = <0x1c1c47>;
					};
				};

				ports {
					#address-cells = <1>;
					#size-cells = <0>;

					port@0 {};
				};
			};

			ports {
				#address-cells = <1>;
				#size-cells = <0>;

				port@0 {
					reg = <0>;
					mt6360_ssusb_ep: endpoint {
						remote-endpoint = <&ssusb_ep>;
					};
				};
			};
		};
	};
};

&ssusb {
	pinctrl-names = "default";
	pinctrl-0 = <&u3_p0_vbus>;
	vusb33-supply = <&mt6359_vusb_ldo_reg>;
	dr_mode = "otg";
	mediatek,usb3-drd;
	usb-role-switch;
	status = "okay";

	port {
		ssusb_ep: endpoint {
			remote-endpoint = <&mt6360_ssusb_ep>;
		};
	};
};

&ssusb1 {
	pinctrl-names = "default";
	pinctrl-0 = <&u2_default>;
	maximum-speed = "high-speed";
	vusb33-supply = <&mt6359_vusb_ldo_reg>;
	mediatek,force-vbus;
	usb-role-switch;
	dr_mode = "otg"; /* host, peripheral, otg */
	status = "disabled";

	connector {
		compatible = "gpio-usb-b-connector", "usb-b-connector";
		type = "micro";
		id-gpios = <&pio 130 GPIO_ACTIVE_HIGH>;
	};
};

&xhci0 {
	status = "okay";
};

&xhci1 {
	vusb33-supply = <&mt6359_vusb_ldo_reg>;
	status = "okay";
};

&xhci2 {
	vusb33-supply = <&mt6359_vusb_ldo_reg>;
	status = "disabled";
};

&xhci3 {
	vusb33-supply = <&mt6359_vusb_ldo_reg>;
	status = "disabled";
};

&u3port0 {
	status = "okay";
};

&u2port1 {
	status = "okay";
};

&u3port1 {
	status = "okay";
};

&u2port2 {
	status = "okay";
};

&u2port3 {
	status = "disabled";
};

&u3phy0 {
	status = "okay";
};

&u3phy1 {
	status = "okay";
};

&u3phy2 {
	status = "okay";
};

&u3phy3 {
	status = "disabled";
};

&mt6359_vproc1_buck_reg {
	regulator-always-on;
};

&mt6359_vproc2_buck_reg {
	regulator-always-on;
};

&mt6359_vsram_md_ldo_reg {
	regulator-always-on;
};

&mt6359_vgpu11_buck_reg {
	regulator-always-on;
};

&mt6359_vpu_buck_reg {
	regulator-always-on;
};

&mt6359_vcore_buck_reg {
	regulator-always-on;
};

&mt6359_vbbck_ldo_reg {
	regulator-always-on;
};

&mt6359_vaud18_ldo_reg {
	regulator-always-on;
};

&mt6359_vrf12_ldo_reg {
	regulator-always-on;
};

&mt6359_vcn33_2_bt_ldo_reg {
	regulator-min-microvolt = <3300000>;
	regulator-max-microvolt = <3300000>;
	regulator-always-on;
};

/* DEBUG: to remove */
&mt6359_vibr_ldo_reg {
	regulator-always-on;
};

/* For USB Hub */
&mt6359_vcamio_ldo_reg {
	regulator-always-on;
};

#include "mt6360.dtsi"

/* For EMI_VDD2 */
&mt6360_buck1 {
	regulator-always-on;
};

/* For EMI_VDDQ */
&mt6360_buck2 {
	regulator-always-on;
};

&mt6360_ldo1 {
	regulator-min-microvolt = <3300000>;
	regulator-max-microvolt = <3300000>;
	regulator-always-on;
};

&mt6360_ldo2 {
	regulator-min-microvolt = <1800000>;
	regulator-max-microvolt = <1800000>;
};

&mt6360_ldo5 {
	regulator-min-microvolt = <3300000>;
	regulator-max-microvolt = <3300000>;
	regulator-always-on;
};

/* For EMI_VMDDR_EN */
&mt6360_ldo7 {
	regulator-always-on;
};

&spmi {
	#address-cells = <2>;
	#size-cells = <2>;
	grpid = <11>;

	mt6315_6: mt6315@6 {
		compatible = "mediatek,mt6315-regulator";
		reg = <0x6 0 0xb 1>;

		regulators {
			mt6315_6_vbuck1: vbuck1 {
				regulator-compatible = "vbuck1";
				regulator-name = "Vbcpu";
				regulator-min-microvolt = <300000>;
				regulator-max-microvolt = <1193750>;
				regulator-enable-ramp-delay = <256>;
				regulator-allowed-modes = <0 1 2>;
				regulator-always-on;
			};
		};
	};

	mt6315_7: mt6315@7 {
		compatible = "mediatek,mt6315-regulator";
		reg = <0x7 0 0xb 1>;

		regulators {
			mt6315_7_vbuck1: vbuck1 {
				regulator-compatible = "vbuck1";
				regulator-name = "Vgpu";
				regulator-min-microvolt = <300000>;
				regulator-max-microvolt = <1193750>;
				regulator-enable-ramp-delay = <256>;
				regulator-allowed-modes = <0 1 2>;
			};
		};
	};
};

&eth {
	phy-mode ="rgmii-rxid";
	phy-handle = <&eth_phy0>;
	snps,reset-gpio = <&pio 93 GPIO_ACTIVE_HIGH>;
	snps,reset-delays-us = <0 10000 10000>;
	mediatek,tx-delay-ps = <2030>;
	mediatek,mac-wol;
	pinctrl-names = "default", "sleep";
	pinctrl-0 = <&eth_default>;
	pinctrl-1 = <&eth_sleep>;
	status = "okay";

	mdio {
		compatible = "snps,dwmac-mdio";
		#address-cells = <1>;
		#size-cells = <0>;
		eth_phy0: eth_phy0@1 {
			compatible = "ethernet-phy-id001c.c916";
			reg = <0x1>;
		};
	};
};

&afe {
	#sound-dai-cells = <0>;
	memory-region = <&snd_dma_mem_reserved>;
	mediatek,dmic-iir-on;
	status = "okay";
};

&mt6359codec {
	mediatek,mic-type-1 = <3>; /* DCC */
};

&sound {
	compatible = "mediatek,mt8395-evk";
	model = "mt8395-evk";
	pinctrl-names = "default";
	pinctrl-0 = <&aud_pins_default>;
	status = "okay";

	dai-link-0 {
		sound-dai = <&afe>;
		dai-link-name = "DL_SRC_BE";

		codec-0 {
			sound-dai = <&pmic 0>;
		};
	};

	dai-link-1 {
		sound-dai = <&afe>;
		dai-link-name = "UL_SRC1_BE";

		codec-0 {
			sound-dai = <&pmic 0>;
		};

		codec-1 {
			sound-dai = <&dmic_codec>;
		};
	};

	dai-link-2 {
		sound-dai = <&afe>;
		dai-link-name = "UL_SRC2_BE";

		codec-0 {
			sound-dai = <&pmic 1>;
		};
	};

	dai-link-3 {
		sound-dai = <&afe>;
		dai-link-name = "ETDM3_OUT_BE";

		codec-0 {
			sound-dai = <&hdmi0>;
		};
	};

	dai-link-4 {
		sound-dai = <&afe>;
		dai-link-name = "DPTX_BE";

		codec-0 {
			sound-dai = <&dp_tx>;
		};
	};

	dai-link-5 {
		sound-dai = <&afe>;
		dai-link-name = "DMIC_BE";

		codec-0 {
			sound-dai = <&dmic_codec>;
		};
	};
};

&mfg0 {
	domain-supply = <&mt6315_7_vbuck1>;
};

&pcie0 {
	pinctrl-names = "default", "idle";
	pinctrl-0 = <&pcie0_pins_default>;
	pinctrl-1 = <&pcie0_pins_idle>;
	status = "okay";
};

&pciephy {
	status = "okay";
};

&pcie1 {
	pinctrl-names = "default";
	pinctrl-0 = <&pcie1_pins_default>;
	status = "okay";
};

&u3phy1 {
	status = "okay";
};

&dp_intf1 {
	status = "okay";
	mediatek,indicated-display-path = <1>;
	mediatek,oob-hpd;
	ports {
		port {
			dp_intf1_out: endpoint {
				remote-endpoint = <&dptx_in>;
			};
		};
	};
};

&dp_tx {
	pinctrl-names = "default";
	pinctrl-0 = <&dptx_pin>;
	status = "okay";

	ports {
		port {
			dptx_in: endpoint {
				remote-endpoint = <&dp_intf1_out>;
			};
		};
	};
};

&disp_dpi1 {
	status = "okay";
	mediatek,indicated-display-path = <0>;
};

&hdmi0 {
	status = "okay";
};

&ovl1 {
	/* DSI0 does not support dualpipe output,
	 * so disable dualpipe by disabling ovl1 node
	 */
	status = "okay";
	mediatek,enable-dualpipe;
};

&dsi0 {
	status = "disabled";
};

&uart0 {
	pinctrl-0 = <&uart0_pins>;
	pinctrl-names = "default";
	status = "okay";
};

&hdmirx0 {
	pinctrl-names = "default";
	pinctrl-0 = <&hdmi0_pins_default>;
	hdmi33v-supply = <&mt6359_vcn33_1_wifi_ldo_reg>;
	hdmi08v-supply = <&mt6359_va09_ldo_reg>;
	status = "okay";
};

&pio {
	u3_p0_vbus: u3_p0vbusdefault {
		pins_cmd_dat {
			pinmux = <PINMUX_GPIO63__FUNC_VBUSVALID>;
			input-enable;
		};
	};

	u2_default: u2default {
		pin-id {
			pinmux = <PINMUX_GPIO130__FUNC_IDDIG_1P>;
			input-enable;
			bias-pull-up;
		};

		pin-usb-vbus {
			pinmux = <PINMUX_GPIO131__FUNC_USB_DRVVBUS_1P>;
			output-low;
		};
	};

	mmc0_pins_default: mmc0default {
		pins_cmd_dat {
			pinmux = <PINMUX_GPIO126__FUNC_MSDC0_DAT0>,
				 <PINMUX_GPIO125__FUNC_MSDC0_DAT1>,
				 <PINMUX_GPIO124__FUNC_MSDC0_DAT2>,
				 <PINMUX_GPIO123__FUNC_MSDC0_DAT3>,
				 <PINMUX_GPIO119__FUNC_MSDC0_DAT4>,
				 <PINMUX_GPIO118__FUNC_MSDC0_DAT5>,
				 <PINMUX_GPIO117__FUNC_MSDC0_DAT6>,
				 <PINMUX_GPIO116__FUNC_MSDC0_DAT7>,
				 <PINMUX_GPIO121__FUNC_MSDC0_CMD>;
			input-enable;
			drive-strength = <MTK_DRIVE_6mA>;
			bias-pull-up = <MTK_PUPD_SET_R1R0_01>;
		};

		pins_clk {
			pinmux = <PINMUX_GPIO122__FUNC_MSDC0_CLK>;
			drive-strength = <MTK_DRIVE_6mA>;
			bias-pull-down = <MTK_PUPD_SET_R1R0_10>;
		};

		pins_rst {
			pinmux = <PINMUX_GPIO120__FUNC_MSDC0_RSTB>;
			drive-strength = <MTK_DRIVE_6mA>;
			bias-pull-up = <MTK_PUPD_SET_R1R0_01>;
		};
	};

	mmc0_pins_uhs: mmc0uhs{
		pins_cmd_dat {
			pinmux = <PINMUX_GPIO126__FUNC_MSDC0_DAT0>,
				 <PINMUX_GPIO125__FUNC_MSDC0_DAT1>,
				 <PINMUX_GPIO124__FUNC_MSDC0_DAT2>,
				 <PINMUX_GPIO123__FUNC_MSDC0_DAT3>,
				 <PINMUX_GPIO119__FUNC_MSDC0_DAT4>,
				 <PINMUX_GPIO118__FUNC_MSDC0_DAT5>,
				 <PINMUX_GPIO117__FUNC_MSDC0_DAT6>,
				 <PINMUX_GPIO116__FUNC_MSDC0_DAT7>,
				 <PINMUX_GPIO121__FUNC_MSDC0_CMD>;
			input-enable;
			drive-strength = <MTK_DRIVE_8mA>;
			bias-pull-up = <MTK_PUPD_SET_R1R0_01>;
		};

		pins_clk {
			pinmux = <PINMUX_GPIO122__FUNC_MSDC0_CLK>;
			drive-strength = <MTK_DRIVE_8mA>;
			bias-pull-down = <MTK_PUPD_SET_R1R0_10>;
		};

		pins_ds {
			pinmux = <PINMUX_GPIO127__FUNC_MSDC0_DSL>;
			drive-strength = <MTK_DRIVE_8mA>;
			bias-pull-down = <MTK_PUPD_SET_R1R0_10>;
		};

		pins_rst {
			pinmux = <PINMUX_GPIO120__FUNC_MSDC0_RSTB>;
			drive-strength = <MTK_DRIVE_8mA>;
			bias-pull-up = <MTK_PUPD_SET_R1R0_01>;
		};
	};

	mmc1_pins_default: mmc1-pins-default {
		pins_cmd_dat {
			pinmux = <PINMUX_GPIO110__FUNC_MSDC1_CMD>,
				 <PINMUX_GPIO112__FUNC_MSDC1_DAT0>,
				 <PINMUX_GPIO113__FUNC_MSDC1_DAT1>,
				 <PINMUX_GPIO114__FUNC_MSDC1_DAT2>,
				 <PINMUX_GPIO115__FUNC_MSDC1_DAT3>;
			input-enable;
			drive-strength = <MTK_DRIVE_8mA>;
			bias-pull-up = <MTK_PUPD_SET_R1R0_01>;
		};

		pins_clk {
			pinmux = <PINMUX_GPIO111__FUNC_MSDC1_CLK>;
			drive-strength = <MTK_DRIVE_8mA>;
			bias-pull-down = <MTK_PUPD_SET_R1R0_10>;
		};

		pins_insert {
			pinmux = <PINMUX_GPIO129__FUNC_GPIO129>;
			bias-pull-up;
		};
	};

	mmc1_pins_uhs: mmc1-pins-uhs {
		pins_cmd_dat {
			pinmux = <PINMUX_GPIO110__FUNC_MSDC1_CMD>,
				 <PINMUX_GPIO112__FUNC_MSDC1_DAT0>,
				 <PINMUX_GPIO113__FUNC_MSDC1_DAT1>,
				 <PINMUX_GPIO114__FUNC_MSDC1_DAT2>,
				 <PINMUX_GPIO115__FUNC_MSDC1_DAT3>;
			input-enable;
			drive-strength = <MTK_DRIVE_8mA>;
			bias-pull-up = <MTK_PUPD_SET_R1R0_01>;
		};

		pins_clk {
			pinmux = <PINMUX_GPIO111__FUNC_MSDC1_CLK>;
			drive-strength = <MTK_DRIVE_8mA>;
			bias-pull-down = <MTK_PUPD_SET_R1R0_10>;
		};
	};

	i2c0_pins: i2c0-pins {
		pins {
			pinmux = <PINMUX_GPIO8__FUNC_SDA0>,
				 <PINMUX_GPIO9__FUNC_SCL0>;
			bias-pull-up = <MTK_PULL_SET_RSEL_111>;
			mediatek,drive-strength-adv = <7>;
		};
	};

	i2c1_pins: i2c1-pins {
		pins {
			pinmux = <PINMUX_GPIO10__FUNC_SDA1>,
				 <PINMUX_GPIO11__FUNC_SCL1>;
			bias-pull-up = <MTK_PULL_SET_RSEL_111>;
			mediatek,drive-strength-adv = <7>;
		};
	};

	i2c2_pins: i2c2-pins {
		pins {
			pinmux = <PINMUX_GPIO12__FUNC_SDA2>,
				 <PINMUX_GPIO13__FUNC_SCL2>;
			bias-pull-up;
			mediatek,rsel = <MTK_PULL_SET_RSEL_111>;
			mediatek,drive-strength-adv = <7>;
			drive-strength = <MTK_DRIVE_6mA>;
		};
	};

	i2c4_pins: i2c4-pins {
		pins {
			pinmux = <PINMUX_GPIO16__FUNC_SDA4>,
				 <PINMUX_GPIO17__FUNC_SCL4>;
			bias-pull-up;
			mediatek,rsel = <MTK_PULL_SET_RSEL_111>;
			mediatek,drive-strength-adv = <7>;
		};
	};

	i2c6_pins: i2c6-pin {
		pins {
			pinmux = <PINMUX_GPIO25__FUNC_SDA6>,
				 <PINMUX_GPIO26__FUNC_SCL6>;
			bias-pull-up;
			mediatek,rsel = <MTK_PULL_SET_RSEL_111>;
		};
	};

	uart0_pins: uart0-pins {
		pins {
			pinmux = <PINMUX_GPIO98__FUNC_UTXD0>,
				 <PINMUX_GPIO99__FUNC_URXD0>;
		};
	};

	uart1_pins: uart1-pins {
		pins {
			pinmux = <PINMUX_GPIO102__FUNC_UTXD1>,
				 <PINMUX_GPIO103__FUNC_URXD1>,
				 <PINMUX_GPIO100__FUNC_URTS1>,
				 <PINMUX_GPIO101__FUNC_UCTS1>;
		};
	};

	spi1_pins: spi1-pins {
		pins {
			pinmux = <PINMUX_GPIO136__FUNC_SPIM1_CSB>,
				 <PINMUX_GPIO137__FUNC_SPIM1_CLK>,
				 <PINMUX_GPIO138__FUNC_SPIM1_MO>,
				 <PINMUX_GPIO139__FUNC_SPIM1_MI>;
			bias-disable;
		};
	};

	spi2_pins: spi-pins {
		pins {
			pinmux = <PINMUX_GPIO140__FUNC_SPIM2_CSB>,
				 <PINMUX_GPIO141__FUNC_SPIM2_CLK>,
				 <PINMUX_GPIO142__FUNC_SPIM2_MO>,
				 <PINMUX_GPIO143__FUNC_SPIM2_MI>;
			bias-disable;
		};
	};

	eth_default: eth_default {
		txd_pins {
			pinmux = <PINMUX_GPIO77__FUNC_GBE_TXD3>,
				 <PINMUX_GPIO78__FUNC_GBE_TXD2>,
				 <PINMUX_GPIO79__FUNC_GBE_TXD1>,
				 <PINMUX_GPIO80__FUNC_GBE_TXD0>;
			drive-strength = <MTK_DRIVE_8mA>;
		};
		cc_pins {
			pinmux = <PINMUX_GPIO85__FUNC_GBE_TXC>,
				 <PINMUX_GPIO88__FUNC_GBE_TXEN>,
				 <PINMUX_GPIO87__FUNC_GBE_RXDV>,
				 <PINMUX_GPIO86__FUNC_GBE_RXC>;
			drive-strength = <MTK_DRIVE_8mA>;
		};
		rxd_pins {
			pinmux = <PINMUX_GPIO81__FUNC_GBE_RXD3>,
				 <PINMUX_GPIO82__FUNC_GBE_RXD2>,
				 <PINMUX_GPIO83__FUNC_GBE_RXD1>,
				 <PINMUX_GPIO84__FUNC_GBE_RXD0>;
		};
		mdio_pins {
			pinmux = <PINMUX_GPIO89__FUNC_GBE_MDC>,
				 <PINMUX_GPIO90__FUNC_GBE_MDIO>;
			input-enable;
		};
		power_pins {
			pinmux = <PINMUX_GPIO91__FUNC_GPIO91>,
				 <PINMUX_GPIO92__FUNC_GPIO92>;
			output-high;
		};
		phy_reset_pin {
			pinmux = <PINMUX_GPIO93__FUNC_GPIO93>;
		};
	};

	eth_sleep: eth_sleep {
		txd_pins {
			pinmux = <PINMUX_GPIO77__FUNC_GPIO77>,
				 <PINMUX_GPIO78__FUNC_GPIO78>,
				 <PINMUX_GPIO79__FUNC_GPIO79>,
				 <PINMUX_GPIO80__FUNC_GPIO80>;
		};
		cc_pins {
			pinmux = <PINMUX_GPIO85__FUNC_GPIO85>,
				 <PINMUX_GPIO88__FUNC_GPIO88>,
				 <PINMUX_GPIO87__FUNC_GPIO87>,
				 <PINMUX_GPIO86__FUNC_GPIO86>;
		};
		rxd_pins {
			pinmux = <PINMUX_GPIO81__FUNC_GPIO81>,
				 <PINMUX_GPIO82__FUNC_GPIO82>,
				 <PINMUX_GPIO83__FUNC_GPIO83>,
				 <PINMUX_GPIO84__FUNC_GPIO84>;
		};
		mdio_pins {
			pinmux = <PINMUX_GPIO89__FUNC_GPIO89>,
				 <PINMUX_GPIO90__FUNC_GPIO90>;
			input-disable;
			bias-disable;
		};
		power_pins {
			pinmux = <PINMUX_GPIO91__FUNC_GPIO91>,
				 <PINMUX_GPIO92__FUNC_GPIO92>;
			input-disable;
			bias-disable;
		};
		phy_reset_pin {
			pinmux = <PINMUX_GPIO93__FUNC_GPIO93>;
			input-disable;
			bias-disable;
		};
	};

	pcie0_pins_default: pcie0default {
		pins {
			pinmux = <PINMUX_GPIO19__FUNC_WAKEN>,
				 <PINMUX_GPIO20__FUNC_PERSTN>,
				 <PINMUX_GPIO21__FUNC_CLKREQN>;
			bias-pull-up;
		};
	};

	pcie0_pins_idle: pcie0idle {
		pins {
			pinmux = <PINMUX_GPIO20__FUNC_GPIO20>;
			bias-disable;
			output-low;
		};
	};

	pcie1_pins_default: pcie1default {
		pins {
			pinmux = <PINMUX_GPIO0__FUNC_PERSTN_1>,
				 <PINMUX_GPIO1__FUNC_CLKREQN_1>,
				 <PINMUX_GPIO2__FUNC_WAKEN_1>;
			bias-disable;
		};
	};

	gpio_keys: gpio-keys {
		pins {
			pinmux = <PINMUX_GPIO106__FUNC_GPIO106>;
			bias-pull-up;
			input-enable;
		};
	};

	mt6360_pins: mt6360-pins {
		pins {
			pinmux = <PINMUX_GPIO100__FUNC_GPIO100>,
				 <PINMUX_GPIO101__FUNC_GPIO101>;
			input-enable;
			bias-pull-up;
		};
	};

	hdmi0_pins_default: hdmi0default {
		hdmirxhpd {
			pinmux = <PINMUX_GPIO27__FUNC_HDMIRX20_HTPLG>;
		};
		hdmirx5v {
			pinmux = <PINMUX_GPIO28__FUNC_HDMIRX20_PWR5V>;
			bias-disable;
		};
		hdmirxscl {
			pinmux = <PINMUX_GPIO29__FUNC_HDMIRX20_SCL>;
		};
		hdmirxsda {
			pinmux = <PINMUX_GPIO30__FUNC_HDMIRX20_SDA>;
			drive-strength = <MTK_DRIVE_10mA>;
		};
	};

	dptx_pin: dptx_pin_default {
		pins_cmd_dat1 {
			pinmux = <PINMUX_GPIO18__FUNC_DP_TX_HPD>;
			bias-pull-up;
		};
	};

	aud_pins_default: audiodefault {
		pins_cmd_dat {
			pinmux = <PINMUX_GPIO70__FUNC_AUD_SYNC_MOSI>,
				 <PINMUX_GPIO69__FUNC_AUD_CLK_MOSI>,
				 <PINMUX_GPIO71__FUNC_AUD_DAT_MOSI0>,
				 <PINMUX_GPIO72__FUNC_AUD_DAT_MOSI1>,
				 <PINMUX_GPIO73__FUNC_AUD_DAT_MISO0>,
				 <PINMUX_GPIO74__FUNC_AUD_DAT_MISO1>,
				 <PINMUX_GPIO75__FUNC_AUD_DAT_MISO2>;
		};
	};
};
